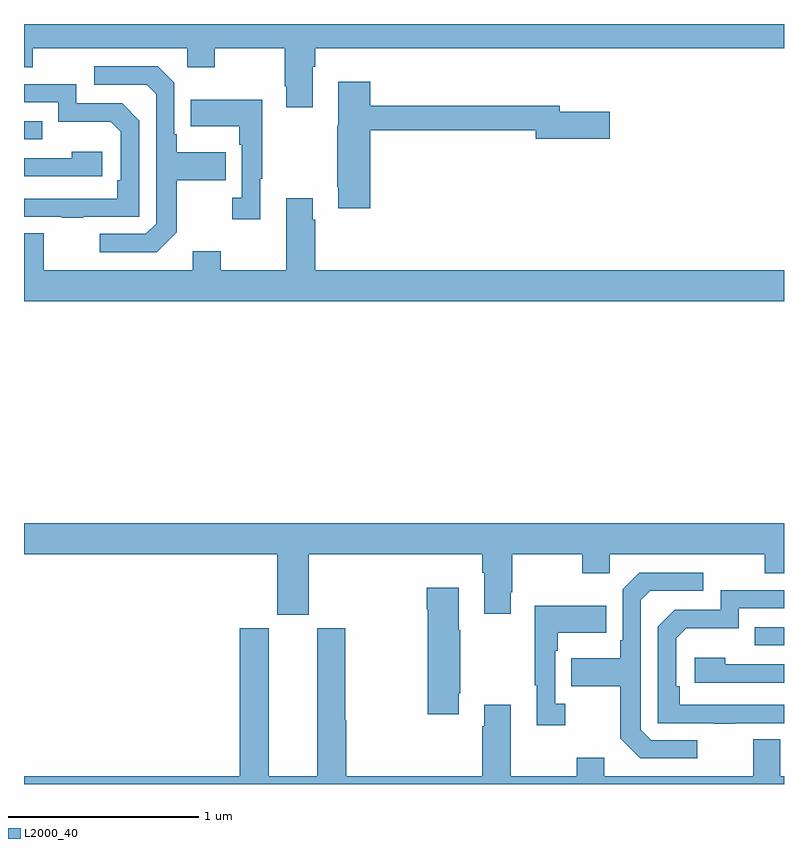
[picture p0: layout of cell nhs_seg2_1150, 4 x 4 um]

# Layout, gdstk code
import gdstk
lib = gdstk.Library(unit=1e-6, precision=1e-09)
def R(c, l, rs):  # rectangles x0, y0, x1, y1
    for r in rs: c.add(gdstk.rectangle(r[:2], r[2:], *l))
def P(c, l, *ps):  # polygons
    for p in ps: c.add(gdstk.Polygon(p, *l))
L2000_40 = (2000, 40)

nhs_seg2_1150 = lib.new_cell('nhs_seg2_1150')
R(nhs_seg2_1150, L2000_40, [(174.847,608.529,175,608.625), (171,611.193,171.095,611.289)])
P(nhs_seg2_1150, L2000_40, [(172.519,611.576),(172.532,611.576),(172.532,611.672),(175,611.672),(175,611.8),(171,611.8),(171,611.573),(171.045,611.573),(171.045,611.672),(171.858,611.672),(171.858,611.573),(172.005,611.573),(172.005,611.672),(172.372,611.672),(172.372,611.473),(172.379,611.473),(172.379,611.361),(172.519,611.361)],
  [(171.805,610.705),(171.805,610.978),(172.061,610.978),(172.061,611.125),(171.805,611.125),(171.805,611.221),(171.792,611.221),(171.792,611.49),(171.705,611.577),(171.369,611.577),(171.369,611.481),(171.645,611.481),(171.696,611.43),(171.696,610.749),(171.642,610.695),(171.399,610.695),(171.399,610.599),(171.699,610.599)],
  [(172.823,611.242),(173.693,611.242),(173.693,611.195),(174.082,611.195),(174.082,611.337),(173.821,611.337),(173.821,611.371),(172.823,611.371),(172.823,611.497),(172.655,611.497),(172.655,611.265),(172.648,611.265),(172.648,610.942),(172.655,610.942),(172.655,610.83),(172.823,610.83)],
  [(171.311,610.785),(171.606,610.785),(171.606,611.292),(171.516,611.382),(171.276,611.382),(171.276,611.484),(171,611.484),(171,611.388),(171.18,611.388),(171.18,611.285),(171.457,611.285),(171.51,611.232),(171.51,610.978),(171.49,610.978),(171.49,610.881),(171,610.881),(171,610.785),(171.199,610.785),(171.199,610.78),(171.311,610.78)],
  [(172.243,610.985),(172.255,610.985),(172.255,611.401),(171.877,611.401),(171.877,611.261),(172.134,611.261),(172.134,611.165),(172.146,611.165),(172.146,610.886),(172.095,610.886),(172.095,610.773),(172.243,610.773)],
  [(171.412,611.128),(171.251,611.128),(171.251,611.094),(171,611.094),(171,610.998),(171.412,610.998)],
  [(175,610.504),(172.532,610.504),(172.532,610.769),(172.519,610.769),(172.519,610.882),(172.379,610.882),(172.379,610.504),(172.035,610.504),(172.035,610.603),(171.887,610.603),(171.887,610.504),(171.103,610.504),(171.103,610.699),(171,610.699),(171,610.34),(175,610.34)],
  [(172.498,609.008),(173.411,609.008),(173.411,608.912),(173.423,608.912),(173.423,608.697),(173.563,608.697),(173.563,608.809),(173.571,608.809),(173.571,609.008),(173.938,609.008),(173.938,608.909),(174.084,608.909),(174.084,609.008),(174.898,609.008),(174.898,608.909),(175,608.909),(175,609.172),(171,609.172),(171,609.008),(172.334,609.008),(172.334,608.691),(172.498,608.691)],
  [(174.544,608.031),(174.3,608.031),(174.246,608.085),(174.246,608.766),(174.297,608.817),(174.574,608.817),(174.574,608.913),(174.237,608.913),(174.15,608.826),(174.15,608.557),(174.138,608.557),(174.138,608.461),(173.881,608.461),(173.881,608.314),(174.138,608.314),(174.138,608.041),(174.243,607.935),(174.544,607.935)],
  [(173.287,608.278),(173.295,608.278),(173.295,608.609),(173.287,608.609),(173.287,608.833),(173.12,608.833),(173.12,608.72),(173.125,608.72),(173.125,608.166),(173.287,608.166)],
  [(174.743,608.121),(175,608.121),(175,608.217),(174.452,608.217),(174.452,608.314),(174.432,608.314),(174.432,608.568),(174.485,608.621),(174.762,608.621),(174.762,608.724),(175,608.724),(175,608.82),(174.666,608.82),(174.666,608.718),(174.426,608.718),(174.336,608.628),(174.336,608.121),(174.631,608.121),(174.631,608.116),(174.743,608.116)],
  [(173.848,608.222),(173.796,608.222),(173.796,608.501),(173.809,608.501),(173.809,608.597),(174.065,608.597),(174.065,608.737),(173.688,608.737),(173.688,608.321),(173.699,608.321),(173.699,608.109),(173.848,608.109)],
  [(175,607.84),(174.979,607.84),(174.979,608.035),(174.839,608.035),(174.839,607.84),(174.055,607.84),(174.055,607.939),(173.908,607.939),(173.908,607.84),(173.563,607.84),(173.563,608.218),(173.423,608.218),(173.423,608.105),(173.411,608.105),(173.411,607.84),(172.697,607.84),(172.697,608.136),(172.692,608.136),(172.692,608.619),(172.544,608.619),(172.544,607.84),(172.288,607.84),(172.288,608.619),(172.136,608.619),(172.136,607.84),(171,607.84),(171,607.8),(175,607.8)],
  [(175,608.43),(174.692,608.43),(174.692,608.464),(174.531,608.464),(174.531,608.334),(175,608.334)])

lib.write_gds('nhs_seg2_1150.gds')
